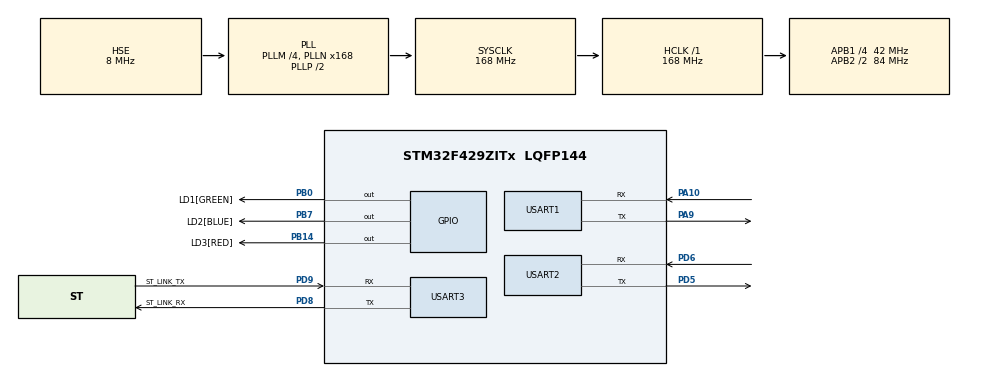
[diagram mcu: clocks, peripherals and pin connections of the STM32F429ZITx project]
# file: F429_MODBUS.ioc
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FREERTOS.Tasks01=defaultTask,24,128,StartDefaultTask,Default,NULL,Dynamic,NULL,NULL;myTaskMaster,8,128,StartTaskMaster,Default,NULL,Dynamic,NULL,NULL;myTaskSlave,8,128,StartTaskSlave,Default,NULL,Dynamic,NULL,NULL
Mcu.Family=STM32F4
Mcu.Name=STM32F429ZITx
Mcu.Package=LQFP144
NVIC.PriorityGroup=NVIC_PRIORITYGROUP_4
NVIC.TIM7_IRQn=true\:15\:0\:false\:false\:true\:false\:false\:true
NVIC.TimeBase=TIM7_IRQn
NVIC.TimeBaseIP=TIM7
NVIC.USART1_IRQn=true\:5\:0\:false\:false\:true\:true\:true\:true
NVIC.USART2_IRQn=true\:5\:0\:false\:false\:true\:true\:true\:true
NVIC.USART3_IRQn=true\:5\:0\:false\:false\:true\:true\:true\:true
PA10.Mode=Asynchronous
PA10.Signal=USART1_RX
PA13.GPIO_Label=SWDIO
PA13.Mode=Trace_Asynchronous_SW
PA13.Signal=SYS_JTMS-SWDIO
PA14.GPIO_Label=SWDCLK
PA14.Mode=Trace_Asynchronous_SW
PA14.Signal=SYS_JTCK-SWCLK
PA9.Mode=Asynchronous
PA9.Signal=USART1_TX
PB0.GPIO_Label=LD1[GREEN]
PB0.Signal=GPIO_Output
PB14.GPIO_Label=LD3[RED]
PB14.Signal=GPIO_Output
PB3.GPIO_Label=SWO
PB3.Mode=Trace_Asynchronous_SW
PB3.Signal=SYS_JTDO-SWO
PB7.GPIO_Label=LD2[BLUE]
PB7.Signal=GPIO_Output
PC14/OSC32_IN.Mode=LSE-External-Oscillator
PC14/OSC32_IN.Signal=RCC_OSC32_IN
PC15/OSC32_OUT.Mode=LSE-External-Oscillator
PC15/OSC32_OUT.Signal=RCC_OSC32_OUT
PD5.Mode=Asynchronous
PD5.Signal=USART2_TX
PD6.Mode=Asynchronous
PD6.Signal=USART2_RX
PD8.GPIO_Label=ST_LINK_RX
PD8.GPIO_Speed=GPIO_SPEED_FREQ_HIGH
PD8.Mode=Asynchronous
PD8.Signal=USART3_TX
PD9.GPIO_Label=ST_LINK_TX
PD9.GPIO_Speed=GPIO_SPEED_FREQ_HIGH
PD9.Mode=Asynchronous
PD9.Signal=USART3_RX
PH0/OSC_IN.Mode=HSE-External-Clock-Source
PH0/OSC_IN.Signal=RCC_OSC_IN
PH1/OSC_OUT.Mode=HSE-External-Clock-Source
PH1/OSC_OUT.Signal=RCC_OSC_OUT
ProjectManager.HeapSize=0x400
ProjectManager.StackSize=0x400
ProjectManager.TargetToolchain=MDK-ARM V5.32
RCC.48MHZClocksFreq_Value=48000000
RCC.AHBFreq_Value=168000000
RCC.APB1CLKDivider=RCC_HCLK_DIV4
RCC.APB1Freq_Value=42000000
RCC.APB1TimFreq_Value=84000000
RCC.APB2CLKDivider=RCC_HCLK_DIV2
RCC.APB2Freq_Value=84000000
RCC.APB2TimFreq_Value=168000000
RCC.CortexFreq_Value=168000000
RCC.HCLKFreq_Value=168000000
RCC.HSE_VALUE=8000000
RCC.HSI_VALUE=16000000
RCC.PLLM=4
RCC.PLLN=168
RCC.PLLQ=7
RCC.PLLSourceVirtual=RCC_PLLSOURCE_HSE
RCC.PWREXT_OverDrive=PWREXT_OverDrive_DESACTIVATED
RCC.PWR_Regulator_Voltage_Scale=PWR_REGULATOR_VOLTAGE_SCALE1
RCC.RCC_MCODiv2=RCC_MCODIV_2
RCC.RCC_RTC_Clock_Source=RCC_RTCCLKSOURCE_LSE
RCC.RCC_RTC_Clock_SourceVirtual=RCC_RTCCLKSOURCE_LSE
RCC.RCC_TIM_PRescaler_Selection=RCC_TIMPRES_DESACTIVATED
RCC.SYSCLKFreq_VALUE=168000000
RCC.SYSCLKSource=RCC_SYSCLKSOURCE_PLLCLK
RCC.VCOOutputFreq_Value=336000000
USART1.VirtualMode=VM_ASYNC
USART2.VirtualMode=VM_ASYNC
USART3.VirtualMode=VM_ASYNC
VP_FREERTOS_VS_CMSIS_V2.Mode=CMSIS_V2
VP_SYS_VS_tim7.Mode=TIM7
board=custom

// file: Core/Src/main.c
/* USER CODE BEGIN Header */
/**
  ******************************************************************************
  * @file           : main.c
  * @brief          : Main program body
  ******************************************************************************
  * @attention
  *
  * <h2><center>&copy; Copyright (c) 2021 STMicroelectronics.
  * All rights reserved.</center></h2>
  *
  * This software component is licensed by ST under Ultimate Liberty license
  * SLA0044, the "License"; You may not use this file except in compliance with
  * the License. You may obtain a copy of the License at:
  *                             www.st.com/SLA0044
  *
  ******************************************************************************
  */
/* USER CODE END Header */
#include "main.h"
#include "cmsis_os.h"
#include "usart.h"
#include "gpio.h"

/* USER CODE BEGIN Includes */
#include "Modbus.h"

/* USER CODE END Includes */

void SystemClock_Config(void);
void MX_FREERTOS_Init(void);

int main(void)
{

  /* MCU Configuration--------------------------------------------------------*/

  /* Reset of all peripherals, Initializes the Flash interface and the Systick. */
  HAL_Init();

  /* Configure the system clock */
  SystemClock_Config();

  /* Initialize all configured peripherals */
  MX_GPIO_Init();
  MX_USART3_UART_Init();
  MX_USART2_UART_Init();
  MX_USART1_UART_Init();

  /* Init scheduler */
  osKernelInitialize();  /* Call init function for freertos objects (in freertos.c) */
  MX_FREERTOS_Init();
  /* Start scheduler */
  osKernelStart();

  /* We should never get here as control is now taken by the scheduler */
  /* Infinite loop */
  while (1)
  {

  }
}

void SystemClock_Config(void)
{
  RCC_OscInitTypeDef RCC_OscInitStruct = {0};
  RCC_ClkInitTypeDef RCC_ClkInitStruct = {0};

  /** Configure the main internal regulator output voltage
  */
  __HAL_RCC_PWR_CLK_ENABLE();
  __HAL_PWR_VOLTAGESCALING_CONFIG(PWR_REGULATOR_VOLTAGE_SCALE1);
  /** Initializes the RCC Oscillators according to the specified parameters
  * in the RCC_OscInitTypeDef structure.
  */
  RCC_OscInitStruct.OscillatorType = RCC_OSCILLATORTYPE_HSE;
  RCC_OscInitStruct.HSEState = RCC_HSE_BYPASS;
  RCC_OscInitStruct.PLL.PLLState = RCC_PLL_ON;
  RCC_OscInitStruct.PLL.PLLSource = RCC_PLLSOURCE_HSE;
  RCC_OscInitStruct.PLL.PLLM = 4;
  RCC_OscInitStruct.PLL.PLLN = 168;
  RCC_OscInitStruct.PLL.PLLP = RCC_PLLP_DIV2;
  RCC_OscInitStruct.PLL.PLLQ = 7;
  if (HAL_RCC_OscConfig(&RCC_OscInitStruct) != HAL_OK)
  {
    Error_Handler();
  }
  /** Initializes the CPU, AHB and APB buses clocks
  */
  RCC_ClkInitStruct.ClockType = RCC_CLOCKTYPE_HCLK|RCC_CLOCKTYPE_SYSCLK
                              |RCC_CLOCKTYPE_PCLK1|RCC_CLOCKTYPE_PCLK2;
  RCC_ClkInitStruct.SYSCLKSource = RCC_SYSCLKSOURCE_PLLCLK;
  RCC_ClkInitStruct.AHBCLKDivider = RCC_SYSCLK_DIV1;
  RCC_ClkInitStruct.APB1CLKDivider = RCC_HCLK_DIV4;
  RCC_ClkInitStruct.APB2CLKDivider = RCC_HCLK_DIV2;

  if (HAL_RCC_ClockConfig(&RCC_ClkInitStruct, FLASH_LATENCY_5) != HAL_OK)
  {
    Error_Handler();
  }
}

void HAL_TIM_PeriodElapsedCallback(TIM_HandleTypeDef *htim)
{
  if (htim->Instance == TIM7) {
    HAL_IncTick();
  }
}

void Error_Handler(void)
{
  __disable_irq();
  while (1)
  {
  }
}

/************************ (C) COPYRIGHT STMicroelectronics *****END OF FILE****/

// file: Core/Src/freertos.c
/* USER CODE BEGIN Header */
/**
  ******************************************************************************
  * File Name          : freertos.c
  * Description        : Code for freertos applications
  ******************************************************************************
  * @attention
  *
  * <h2><center>&copy; Copyright (c) 2021 STMicroelectronics.
  * All rights reserved.</center></h2>
  *
  * This software component is licensed by ST under Ultimate Liberty license
  * SLA0044, the "License"; You may not use this file except in compliance with
  * the License. You may obtain a copy of the License at:
  *                             www.st.com/SLA0044
  *
  ******************************************************************************
  */
/* USER CODE END Header */

#include "FreeRTOS.h"
#include "task.h"
#include "main.h"
#include "cmsis_os.h"

/* USER CODE BEGIN Includes */
#include <stdio.h>
#include <string.h>
#include "usart.h"
#include "semphr.h"
#include "Modbus.h"
#include "sysStatus.h"
/* USER CODE END Includes */

/* USER CODE BEGIN PD */
#define MODBUS_SLAVE_ID	       (1)
#define TOWER_ID               (12345)

#define SENSOR_EC              (1)
#define SENSOR_PH              (2)
#define SENSOR_TEMP1           (3)
#define SENSOR_TEMP2           (4)
/* USER CODE END PD */

/* USER CODE BEGIN Variables */

modbusHandler_t ModbusSlaveH;
modbusHandler_t ModbusMasterH;
uint8_t         ModbusSlaveCoilBuffer[10];
uint16_t        ModusSlaveDataBuffer[48];
uint16_t        SysStatus[48];
uint16_t        u16EC;
uint16_t        u16PH;
uint16_t        u16Temp1Array[4];
uint16_t        u16Temp2Array[4];
struct SystemStatus*  pSysStatus=(struct SystemStatus*)SysStatus;

/* USER CODE END Variables */
/* Definitions for defaultTask */
osThreadId_t defaultTaskHandle;
const osThreadAttr_t defaultTask_attributes = {
  .name = "defaultTask",
  .stack_size = 128 * 4,
  .priority = (osPriority_t) osPriorityNormal,
};
/* Definitions for myTaskMaster */
osThreadId_t myTaskMasterHandle;
const osThreadAttr_t myTaskMaster_attributes = {
  .name = "myTaskMaster",
  .stack_size = 128 * 4,
  .priority = (osPriority_t) osPriorityLow,
};
/* Definitions for myTaskSlave */
osThreadId_t myTaskSlaveHandle;
const osThreadAttr_t myTaskSlave_attributes = {
  .name = "myTaskSlave",
  .stack_size = 128 * 4,
  .priority = (osPriority_t) osPriorityLow,
};

/* USER CODE BEGIN FunctionPrototypes */
static void initModbusSlave(void);
static void initModbusMaster(void);
static void ModbusSlaveProc(void);
static void ModbusMasterProc(void);
/* USER CODE END FunctionPrototypes */

void StartDefaultTask(void *argument);
void StartTaskMaster(void *argument);
void StartTaskSlave(void *argument);

void MX_FREERTOS_Init(void); /* (MISRA C 2004 rule 8.1) */

void MX_FREERTOS_Init(void) {
  /* USER CODE BEGIN Init */
  initModbusSlave();
  initModbusMaster();
  /* USER CODE END Init */

  /* Create the thread(s) */
  /* creation of defaultTask */
  defaultTaskHandle = osThreadNew(StartDefaultTask, NULL, &defaultTask_attributes);

  /* creation of myTaskMaster */
  myTaskMasterHandle = osThreadNew(StartTaskMaster, NULL, &myTaskMaster_attributes);

  /* creation of myTaskSlave */
  myTaskSlaveHandle = osThreadNew(StartTaskSlave, NULL, &myTaskSlave_attributes);

}

void StartDefaultTask(void *argument)
{
  for(;;)
  {
    osDelay(1);
  }
}

void StartTaskMaster(void *argument)
{
  /* USER CODE BEGIN StartTaskMaster */
  /* Infinite loop */
  for(;;)
  {
    ModbusMasterProc();
    osDelay(500);
  }
  /* USER CODE END StartTaskMaster */
}

void StartTaskSlave(void *argument)
{
  /* USER CODE BEGIN StartTaskSlave */
  /* Infinite loop */
  for(;;)
  {
    xSemaphoreTake(ModbusSlaveH.ModBusSphrHandle , portMAX_DELAY);
    ModbusSlaveProc();
    xSemaphoreGive(ModbusSlaveH.ModBusSphrHandle);
    osDelay(100);
  }
  /* USER CODE END StartTaskSlave */
}

/* USER CODE BEGIN Application */

static void ModbusMasterProc(void) {
  modbus_t telegram;
  uint32_t u32NotificationValue;

  telegram.u8id = SENSOR_EC; // slave address
  telegram.u8fct = MB_FC_READ_REGISTERS; // function code
  telegram.u16RegAdd = 2; // start address in slave, 40003
  telegram.u16CoilsNo = 1; // number of elements (coils or registers) to read
  telegram.u16reg = &u16EC; // pointer to a memory array in the Arduino
  ModbusQuery(&ModbusMasterH, telegram);
  u32NotificationValue = ulTaskNotifyTake(pdTRUE, 500);
  if (u32NotificationValue != (uint32_t)ERR_OK_QUERY) {
    // error handler
    printf ("read EC failed\r\n");
  } else {
    printf ("read EC:0x%04X(%d)\r\n", u16EC, u16EC);
    pSysStatus->EC = u16EC;
  }

  telegram.u8id = SENSOR_PH; // slave address
  telegram.u8fct = MB_FC_READ_REGISTERS; // function code
  telegram.u16RegAdd = 6; // start address in slave, 40007
  telegram.u16CoilsNo = 1; // number of elements (coils or registers) to read
  telegram.u16reg = &u16PH; // pointer to a memory array in the Arduino
  ModbusQuery(&ModbusMasterH, telegram);
  u32NotificationValue = ulTaskNotifyTake(pdTRUE, 500);
  if (u32NotificationValue != (uint32_t)ERR_OK_QUERY) {
    // error handler
    printf ("read PH failed\r\n");
  } else {
    printf ("read PH:0x%04X(%d)\r\n", u16PH, u16PH);
    pSysStatus->PH = u16PH;
  }

  telegram.u8id = SENSOR_TEMP1;
  telegram.u8fct = MB_FC_READ_REGISTERS; // function code
  telegram.u16RegAdd = 40; // 0x28
  telegram.u16CoilsNo = 4;
  telegram.u16reg = u16Temp1Array;
  ModbusQuery(&ModbusMasterH, telegram);
  u32NotificationValue = ulTaskNotifyTake(pdTRUE, 500);
  if (u32NotificationValue != (uint32_t)ERR_OK_QUERY) {
    // error handler
    printf ("read temperature failed\r\n");
  } else {
    printf ("read Temp1 ch0:%d ch1:%d ch2:%d ch3:%d\r\n",
    u16Temp1Array[0], u16Temp1Array[1], u16Temp1Array[2], u16Temp1Array[3]);
    pSysStatus->TempIn1 = u16Temp1Array[0];
    pSysStatus->TempOutput1 = u16Temp1Array[1];
    pSysStatus->TempIn2 = u16Temp1Array[2];
    pSysStatus->TempOutput2 = u16Temp1Array[2];
  }

  telegram.u8id = SENSOR_TEMP2;
  telegram.u8fct = MB_FC_READ_REGISTERS; // function code
  telegram.u16RegAdd = 40; // 0x28
  telegram.u16CoilsNo = 4;
  telegram.u16reg = u16Temp2Array;
  ModbusQuery(&ModbusMasterH, telegram);
  u32NotificationValue = ulTaskNotifyTake(pdTRUE, 500);
  if (u32NotificationValue != (uint32_t)ERR_OK_QUERY) {
    // error handler
    printf (" read temperature failed\r\n");
  } else {
    printf ("read Temp2 ch0:%d ch1:%d ch2:%d ch3:%d\r\n",
    u16Temp2Array[0], u16Temp2Array[1], u16Temp2Array[2], u16Temp2Array[3]);
    pSysStatus->TempIn3 = u16Temp2Array[0];
    pSysStatus->TempOutput3 = u16Temp2Array[1];
    pSysStatus->TempIn4 = u16Temp2Array[2];
    pSysStatus->TempOutput4 = u16Temp2Array[2];
  }
}

static void ModbusSlaveProc(void) {
    HAL_GPIO_WritePin(LD2_GPIO_Port, LD2_Pin, (GPIO_PinState)(ModbusSlaveH.u8coils[0] & (1<<0)));
    HAL_GPIO_WritePin(LD3_GPIO_Port, LD3_Pin, (GPIO_PinState)(ModbusSlaveH.u8coils[0] & (1<<1)));
    //printf("reg 0:0x%04X, reg 1:0x%04X\r\n", ModbusSlaveH.u16regs[0], ModbusSlaveH.u16regs[1]);
    memcpy(ModusSlaveDataBuffer, pSysStatus, sizeof(SysStatus));
}

static void initModbusMaster(void) {
  u16EC = 0;
  u16PH = 0;
  for (int i = 0; i < 4; i++) {
    u16Temp1Array[i] = 0;
    u16Temp2Array[i] = 0;
  }

  ModbusMasterH.uModbusType = MB_MASTER;
  ModbusMasterH.xTypeHW = USART_HW;
  ModbusMasterH.port = &huart2;
  ModbusMasterH.u8id = 0; // for Mastter
  ModbusMasterH.u16timeOut = 1000;
  ModbusMasterH.EN_Port = NULL; // No RS485
  ModbusMasterH.u8coils = NULL;
  ModbusMasterH.u8coilsmask = NULL;
  ModbusMasterH.u16coilsize = 0;
  ModbusMasterH.u16regs = &u16EC;
  ModbusMasterH.u16regsize = 1;
  ModbusMasterH.u8regsmask = NULL;
  //Initialize Modbus library
  ModbusInit(&ModbusMasterH);
  //Start capturing traffic on serial Port
  ModbusStart(&ModbusMasterH);
}

void initModbusSlave(void) {
  memset(SysStatus, 0, sizeof(SysStatus));
  pSysStatus->TowerNo = TOWER_ID;
  pSysStatus->TempIn1 = 189;           /* 18.9C */
  pSysStatus->TempOutput1 = 201;       /* 20.1C */
  pSysStatus->EC = 1234;               /* EC: 1234 us/cm */
  pSysStatus->PH = 720;                /* PH 7.2 */
  memcpy(ModusSlaveDataBuffer, pSysStatus, sizeof(SysStatus));
  /* Modbus Slave initialization */
  ModbusSlaveH.uModbusType = MB_SLAVE;
  ModbusSlaveH.xTypeHW = USART_HW;
  ModbusSlaveH.port =  &huart1; // This is the UART port connected to STLINK in the NUCLEO F429
  ModbusSlaveH.u8id = MODBUS_SLAVE_ID; //slave ID, always different than zero
  ModbusSlaveH.u16timeOut = 1000;
  ModbusSlaveH.EN_Port = NULL; // No RS485
  //ModbusH2.EN_Port = LD2_GPIO_Port; // RS485 Enable
  //ModbusH2.EN_Pin = LD2_Pin; // RS485 Enable
  // for coils
  ModbusSlaveH.u8coils = ModbusSlaveCoilBuffer;
  ModbusSlaveH.u8coilsmask = NULL;
  ModbusSlaveH.u16coilsize = sizeof(ModbusSlaveCoilBuffer);
  // for regs
  ModbusSlaveH.u16regs = ModusSlaveDataBuffer;
  ModbusSlaveH.u16regsize= sizeof(ModusSlaveDataBuffer)/sizeof(ModusSlaveDataBuffer[0]);
  ModbusSlaveH.u8regsmask = NULL;
  //Initialize Modbus library
  ModbusInit(&ModbusSlaveH);
  //Start capturing traffic on serial Port
  ModbusStart(&ModbusSlaveH);
}
/* USER CODE END Application */

/************************ (C) COPYRIGHT STMicroelectronics *****END OF FILE****/
